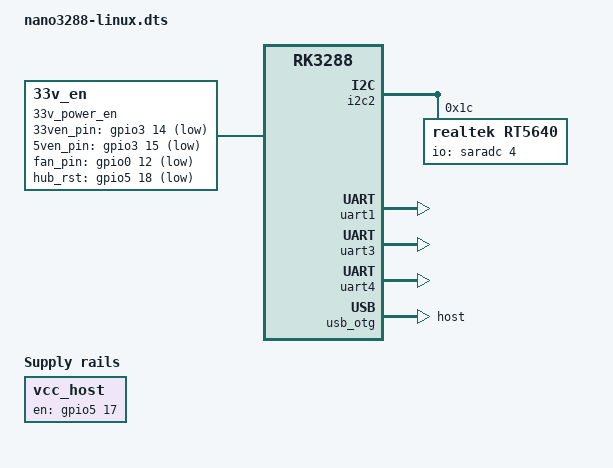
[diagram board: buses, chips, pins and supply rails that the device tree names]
#include "rk3288-evb-rk808-linux.dtsi"

//#include "rp-lcd-hdmi.dtsi"
//#include "rp-lcd-mipi-5-720-1280-nano.dtsi"
//#include "rp-lcd-mipi-5.5-720-1280.dtsi"
//#include "rp-lcd-mipi-7-1200-1920.dtsi"
//#include "rp-lcd-mipi-8-800-1280.dtsi"
//#include "rp-lcd-mipi-10-800-1280.dtsi"
//#include "rp-lcd-edp-13.3-1920-1080.dtsi"
//#include "rp-lcd-lvds-10-1024-600-nano.dtsi"
//#include "rp-lcd-lvds-21.5-1920-1080.dtsi"

#include "rp-lcd-lvds-21.5-1920-1080.dtsi"

/ {
	compatible = "rockchip,nano3288-rk808", "rockchip,rk3288";

        33v_power_en {
                compatible = "33v_en";
                33ven_pin =  <&gpio3 14  1>;
                5ven_pin =   <&gpio3 15  1>;
               fan_pin =    <&gpio0 12 1>;	//usb otg enable
                hub_rst =    <&gpio5 18 1>;
                rp_not_deep_leep = <1>;
                status = "okay";
        };

        rp_gpio{
                status = "okay";
                compatible = "rp_gpio";
                base_value = <0>;
                gpio1 {
                        gpio_num = <&gpio8 6 GPIO_ACTIVE_HIGH>;
                        gpio_function = <0>;            //0:output 1:input
                        //gpio_event = <KEY_F14>;
                        //send_mode = <0>;  
                };
                gpio2 {
                        gpio_num = <&gpio8 7 GPIO_ACTIVE_HIGH>;
                        gpio_function = <0>;            //0:output 1:input
                        //gpio_event = <KEY_F14>;
                        //send_mode = <0>;  
                };
                gpio3 {
                        gpio_num = <&gpio8 8 GPIO_ACTIVE_HIGH>;
                        gpio_function = <0>;            //0:output 1:input
                        //gpio_event = <KEY_F14>;
                        //send_mode = <0>;  
                };
                gpio4 {
                        gpio_num = <&gpio8 9 GPIO_ACTIVE_HIGH>;
                        gpio_function = <0>;            //0:output 1:input
                        //gpio_event = <KEY_F14>;
                        //send_mode = <0>; 
                };

        };

        /* This turns on USB vbus for both host0 (ehci) and host1 (dwc2) */
        vcc_host: vcc-host-regulator {
                compatible = "regulator-fixed";
                enable-active-high;
                gpio = <&gpio5 17 GPIO_ACTIVE_HIGH>;
                pinctrl-names = "default";
                pinctrl-0 = <&host_vbus_drv>;
                regulator-name = "vcc_host";
                regulator-always-on;
                regulator-boot-on;
        };	

        rt5640-sound {
                status = "okay";
                compatible = "simple-audio-card";
                simple-audio-card,format = "i2s";
                simple-audio-card,name = "rockchip,rt5640-codec";
                simple-audio-card,mclk-fs = <256>;	//512

                simple-audio-card,widgets =
                        "Microphone", "Mic Jack",
                        "Headphone", "Headphone Jack",
                        "Speaker", "Speaker";
                simple-audio-card,routing =
                        "Mic Jack", "MICBIAS1",
                        "IN1P", "Mic Jack",
                        "Headphone Jack", "HPOL",
                        "Headphone Jack", "HPOR",
                        "Speaker", "SPOLP",
                        "Speaker", "SPOLN",
                        "Speaker", "SPORP",
                        "Speaker", "SPORN";


                simple-audio-card,dai-link@0 {
                        format = "i2s";
                        cpu {
                                sound-dai = <&i2s>;
                        };

                        codec {
                                sound-dai = <&rt5640>;
                        };
                };
        };

};

&i2c2 {
        status = "okay";

        rt5640: rt5640@1c {
                #sound-dai-cells = <0>;
                compatible = "realtek,rt5640";
                reg = <0x1c>;
                clocks = <&cru SCLK_I2S0_OUT>;
                clock-names = "mclk";
                pinctrl-names = "default";
                pinctrl-0 = <&i2s0_mclk>;
		io-channels = <&saradc 4>;
                hp-det-adc-value = <500>;
		realtek,in1-differential;
        };
};


&uart1 {
	status = "okay";	
};

&uart3 {
        status = "okay";
};

&uart4 {
        status = "okay";
};

&usb_otg {
        status = "okay";
        dr_mode = "host";
};

&pinctrl {
        usb {
                host_vbus_drv: host-vbus-drv {
                        rockchip,pins = <5 17 RK_FUNC_GPIO &pcfg_pull_none>;
                };
	};
};


